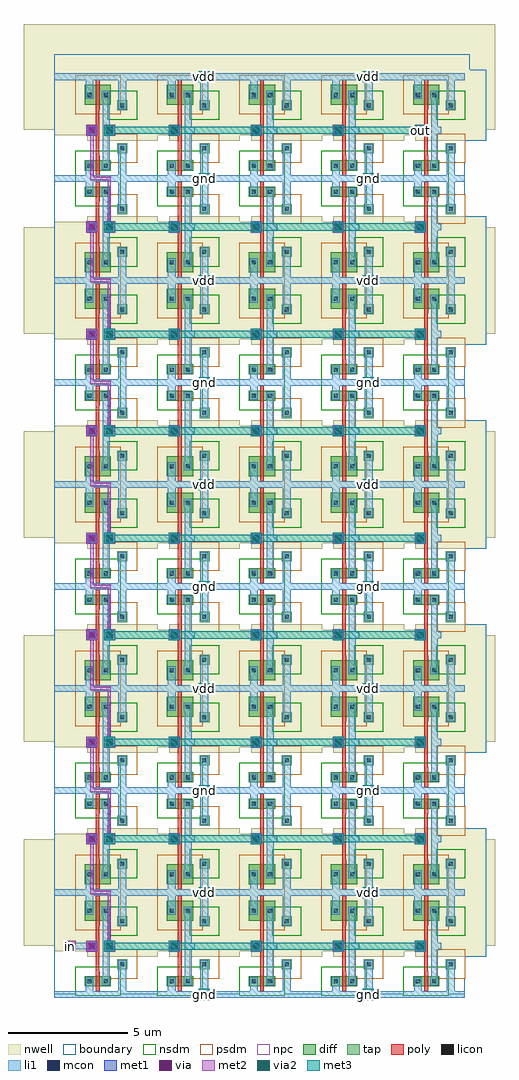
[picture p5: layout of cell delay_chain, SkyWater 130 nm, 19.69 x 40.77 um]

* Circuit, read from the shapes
.subckt delay_chain gnd in out vdd
XM1 pinv_17_1/A in gnd gnd sky130_fd_pr__nfet_01v8 w=0.42 l=0.16
XM2 pinv_17_10/A pinv_17_1/A gnd gnd sky130_fd_pr__nfet_01v8 w=0.42 l=0.16
XM3 pinv_17_11/A pinv_17_10/A gnd gnd sky130_fd_pr__nfet_01v8 w=0.42 l=0.16
XM4 pinv_17_16/A pinv_17_11/A gnd gnd sky130_fd_pr__nfet_01v8 w=0.42 l=0.16
XM5 pinv_17_21/A pinv_17_16/A gnd gnd sky130_fd_pr__nfet_01v8 w=0.42 l=0.16
XM6 pinv_17_26/A pinv_17_21/A gnd gnd sky130_fd_pr__nfet_01v8 w=0.42 l=0.16
XM7 pinv_17_31/A pinv_17_26/A gnd gnd sky130_fd_pr__nfet_01v8 w=0.42 l=0.16
XM8 pinv_17_36/A pinv_17_31/A gnd gnd sky130_fd_pr__nfet_01v8 w=0.42 l=0.16
XM9 out pinv_17_36/A gnd gnd sky130_fd_pr__nfet_01v8 w=0.42 l=0.16
XM10 pinv_17_1/Z pinv_17_1/A gnd gnd sky130_fd_pr__nfet_01v8 w=0.42 l=0.16
XM11 pinv_17_6/Z pinv_17_10/A gnd gnd sky130_fd_pr__nfet_01v8 w=0.42 l=0.16
XM12 pinv_17_11/Z pinv_17_11/A gnd gnd sky130_fd_pr__nfet_01v8 w=0.42 l=0.16
XM13 pinv_17_16/Z pinv_17_16/A gnd gnd sky130_fd_pr__nfet_01v8 w=0.42 l=0.16
XM14 pinv_17_21/Z pinv_17_21/A gnd gnd sky130_fd_pr__nfet_01v8 w=0.42 l=0.16
XM15 pinv_17_26/Z pinv_17_26/A gnd gnd sky130_fd_pr__nfet_01v8 w=0.42 l=0.16
XM16 pinv_17_31/Z pinv_17_31/A gnd gnd sky130_fd_pr__nfet_01v8 w=0.42 l=0.16
XM17 pinv_17_36/Z pinv_17_36/A gnd gnd sky130_fd_pr__nfet_01v8 w=0.42 l=0.16
XM18 pinv_17_41/Z out gnd gnd sky130_fd_pr__nfet_01v8 w=0.42 l=0.16
XM19 pinv_17_2/Z pinv_17_1/A gnd gnd sky130_fd_pr__nfet_01v8 w=0.42 l=0.16
XM20 pinv_17_7/Z pinv_17_10/A gnd gnd sky130_fd_pr__nfet_01v8 w=0.42 l=0.16
XM21 pinv_17_12/Z pinv_17_11/A gnd gnd sky130_fd_pr__nfet_01v8 w=0.42 l=0.16
XM22 pinv_17_17/Z pinv_17_16/A gnd gnd sky130_fd_pr__nfet_01v8 w=0.42 l=0.16
XM23 pinv_17_22/Z pinv_17_21/A gnd gnd sky130_fd_pr__nfet_01v8 w=0.42 l=0.16
XM24 pinv_17_27/Z pinv_17_26/A gnd gnd sky130_fd_pr__nfet_01v8 w=0.42 l=0.16
XM25 pinv_17_32/Z pinv_17_31/A gnd gnd sky130_fd_pr__nfet_01v8 w=0.42 l=0.16
XM26 pinv_17_37/Z pinv_17_36/A gnd gnd sky130_fd_pr__nfet_01v8 w=0.42 l=0.16
XM27 pinv_17_42/Z out gnd gnd sky130_fd_pr__nfet_01v8 w=0.42 l=0.16
XM28 pinv_17_3/Z pinv_17_1/A gnd gnd sky130_fd_pr__nfet_01v8 w=0.42 l=0.16
XM29 pinv_17_8/Z pinv_17_10/A gnd gnd sky130_fd_pr__nfet_01v8 w=0.42 l=0.16
XM30 pinv_17_13/Z pinv_17_11/A gnd gnd sky130_fd_pr__nfet_01v8 w=0.42 l=0.16
XM31 pinv_17_18/Z pinv_17_16/A gnd gnd sky130_fd_pr__nfet_01v8 w=0.42 l=0.16
XM32 pinv_17_23/Z pinv_17_21/A gnd gnd sky130_fd_pr__nfet_01v8 w=0.42 l=0.16
XM33 pinv_17_28/Z pinv_17_26/A gnd gnd sky130_fd_pr__nfet_01v8 w=0.42 l=0.16
XM34 pinv_17_33/Z pinv_17_31/A gnd gnd sky130_fd_pr__nfet_01v8 w=0.42 l=0.16
XM35 pinv_17_38/Z pinv_17_36/A gnd gnd sky130_fd_pr__nfet_01v8 w=0.42 l=0.16
XM36 pinv_17_43/Z out gnd gnd sky130_fd_pr__nfet_01v8 w=0.42 l=0.16
XM37 pinv_17_4/Z pinv_17_1/A gnd gnd sky130_fd_pr__nfet_01v8 w=0.42 l=0.16
XM38 pinv_17_9/Z pinv_17_10/A gnd gnd sky130_fd_pr__nfet_01v8 w=0.42 l=0.16
XM39 pinv_17_14/Z pinv_17_11/A gnd gnd sky130_fd_pr__nfet_01v8 w=0.42 l=0.16
XM40 pinv_17_19/Z pinv_17_16/A gnd gnd sky130_fd_pr__nfet_01v8 w=0.42 l=0.16
XM41 pinv_17_24/Z pinv_17_21/A gnd gnd sky130_fd_pr__nfet_01v8 w=0.42 l=0.16
XM42 pinv_17_29/Z pinv_17_26/A gnd gnd sky130_fd_pr__nfet_01v8 w=0.42 l=0.16
XM43 pinv_17_34/Z pinv_17_31/A gnd gnd sky130_fd_pr__nfet_01v8 w=0.42 l=0.16
XM44 pinv_17_39/Z pinv_17_36/A gnd gnd sky130_fd_pr__nfet_01v8 w=0.42 l=0.16
XM45 pinv_17_44/Z out gnd gnd sky130_fd_pr__nfet_01v8 w=0.42 l=0.16
XM46 pinv_17_1/A in vdd vdd sky130_fd_pr__pfet_01v8 w=0.84 l=0.16
XM47 pinv_17_10/A pinv_17_1/A vdd vdd sky130_fd_pr__pfet_01v8 w=0.84 l=0.16
XM48 pinv_17_11/A pinv_17_10/A vdd vdd sky130_fd_pr__pfet_01v8 w=0.84 l=0.16
XM49 pinv_17_16/A pinv_17_11/A vdd vdd sky130_fd_pr__pfet_01v8 w=0.84 l=0.16
XM50 pinv_17_21/A pinv_17_16/A vdd vdd sky130_fd_pr__pfet_01v8 w=0.84 l=0.16
XM51 pinv_17_26/A pinv_17_21/A vdd vdd sky130_fd_pr__pfet_01v8 w=0.84 l=0.16
XM52 pinv_17_31/A pinv_17_26/A vdd vdd sky130_fd_pr__pfet_01v8 w=0.84 l=0.16
XM53 pinv_17_36/A pinv_17_31/A vdd vdd sky130_fd_pr__pfet_01v8 w=0.84 l=0.16
XM54 out pinv_17_36/A vdd vdd sky130_fd_pr__pfet_01v8 w=0.84 l=0.16
XM55 pinv_17_1/Z pinv_17_1/A vdd vdd sky130_fd_pr__pfet_01v8 w=0.84 l=0.16
XM56 pinv_17_6/Z pinv_17_10/A vdd vdd sky130_fd_pr__pfet_01v8 w=0.84 l=0.16
XM57 pinv_17_11/Z pinv_17_11/A vdd vdd sky130_fd_pr__pfet_01v8 w=0.84 l=0.16
XM58 pinv_17_16/Z pinv_17_16/A vdd vdd sky130_fd_pr__pfet_01v8 w=0.84 l=0.16
XM59 pinv_17_21/Z pinv_17_21/A vdd vdd sky130_fd_pr__pfet_01v8 w=0.84 l=0.16
XM60 pinv_17_26/Z pinv_17_26/A vdd vdd sky130_fd_pr__pfet_01v8 w=0.84 l=0.16
XM61 pinv_17_31/Z pinv_17_31/A vdd vdd sky130_fd_pr__pfet_01v8 w=0.84 l=0.16
XM62 pinv_17_36/Z pinv_17_36/A vdd vdd sky130_fd_pr__pfet_01v8 w=0.84 l=0.16
XM63 pinv_17_41/Z out vdd vdd sky130_fd_pr__pfet_01v8 w=0.84 l=0.16
XM64 pinv_17_2/Z pinv_17_1/A vdd vdd sky130_fd_pr__pfet_01v8 w=0.84 l=0.16
XM65 pinv_17_7/Z pinv_17_10/A vdd vdd sky130_fd_pr__pfet_01v8 w=0.84 l=0.16
XM66 pinv_17_12/Z pinv_17_11/A vdd vdd sky130_fd_pr__pfet_01v8 w=0.84 l=0.16
XM67 pinv_17_17/Z pinv_17_16/A vdd vdd sky130_fd_pr__pfet_01v8 w=0.84 l=0.16
XM68 pinv_17_22/Z pinv_17_21/A vdd vdd sky130_fd_pr__pfet_01v8 w=0.84 l=0.16
XM69 pinv_17_27/Z pinv_17_26/A vdd vdd sky130_fd_pr__pfet_01v8 w=0.84 l=0.16
XM70 pinv_17_32/Z pinv_17_31/A vdd vdd sky130_fd_pr__pfet_01v8 w=0.84 l=0.16
XM71 pinv_17_37/Z pinv_17_36/A vdd vdd sky130_fd_pr__pfet_01v8 w=0.84 l=0.16
XM72 pinv_17_42/Z out vdd vdd sky130_fd_pr__pfet_01v8 w=0.84 l=0.16
XM73 pinv_17_3/Z pinv_17_1/A vdd vdd sky130_fd_pr__pfet_01v8 w=0.84 l=0.16
XM74 pinv_17_8/Z pinv_17_10/A vdd vdd sky130_fd_pr__pfet_01v8 w=0.84 l=0.16
XM75 pinv_17_13/Z pinv_17_11/A vdd vdd sky130_fd_pr__pfet_01v8 w=0.84 l=0.16
XM76 pinv_17_18/Z pinv_17_16/A vdd vdd sky130_fd_pr__pfet_01v8 w=0.84 l=0.16
XM77 pinv_17_23/Z pinv_17_21/A vdd vdd sky130_fd_pr__pfet_01v8 w=0.84 l=0.16
XM78 pinv_17_28/Z pinv_17_26/A vdd vdd sky130_fd_pr__pfet_01v8 w=0.84 l=0.16
XM79 pinv_17_33/Z pinv_17_31/A vdd vdd sky130_fd_pr__pfet_01v8 w=0.84 l=0.16
XM80 pinv_17_38/Z pinv_17_36/A vdd vdd sky130_fd_pr__pfet_01v8 w=0.84 l=0.16
XM81 pinv_17_43/Z out vdd vdd sky130_fd_pr__pfet_01v8 w=0.84 l=0.16
XM82 pinv_17_4/Z pinv_17_1/A vdd vdd sky130_fd_pr__pfet_01v8 w=0.84 l=0.16
XM83 pinv_17_9/Z pinv_17_10/A vdd vdd sky130_fd_pr__pfet_01v8 w=0.84 l=0.16
XM84 pinv_17_14/Z pinv_17_11/A vdd vdd sky130_fd_pr__pfet_01v8 w=0.84 l=0.16
XM85 pinv_17_19/Z pinv_17_16/A vdd vdd sky130_fd_pr__pfet_01v8 w=0.84 l=0.16
XM86 pinv_17_24/Z pinv_17_21/A vdd vdd sky130_fd_pr__pfet_01v8 w=0.84 l=0.16
XM87 pinv_17_29/Z pinv_17_26/A vdd vdd sky130_fd_pr__pfet_01v8 w=0.84 l=0.16
XM88 pinv_17_34/Z pinv_17_31/A vdd vdd sky130_fd_pr__pfet_01v8 w=0.84 l=0.16
XM89 pinv_17_39/Z pinv_17_36/A vdd vdd sky130_fd_pr__pfet_01v8 w=0.84 l=0.16
XM90 pinv_17_44/Z out vdd vdd sky130_fd_pr__pfet_01v8 w=0.84 l=0.16
.ends

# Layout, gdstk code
import gdstk
lib = gdstk.Library(unit=1e-6, precision=1e-09)
def R(c, l, rs):  # rectangles x0, y0, x1, y1
    for r in rs: c.add(gdstk.rectangle(r[:2], r[2:], *l))
def A(c, l, x, y, w, h, nx, ny, dx, dy):  # array of equal rectangles
    R(c, l, [(x+i*dx, y+j*dy, x+i*dx+w, y+j*dy+h) for i in range(nx) for j in range(ny)])
nwell = (64, 20)
diff = (65, 20)
tap = (65, 44)
poly = (66, 20)
licon = (66, 44)
li1 = (67, 20)
mcon = (67, 44)
met1 = (68, 20)
via = (68, 44)
met2 = (69, 20)
via2 = (69, 44)
met3 = (70, 20)
nsdm = (93, 44)
psdm = (94, 20)
npc = (95, 20)
boundary = (235, 4)

contact_12 = lib.new_cell('contact_12')
R(contact_12, nwell, [(-1.27,-1.27,1.69,1.69)])
R(contact_12, diff, [(0,0,0.42,0.42)])
R(contact_12, licon, [(0.12,0.12,0.29,0.29)])
R(contact_12, li1, [(0.04,0.04,0.37,0.37)])
R(contact_12, psdm, [(-0.4,-0.4,0.82,0.82)])
R(contact_12, boundary, [(-1.27,-1.27,1.69,1.69)])

pmos_m1_w0_840_sli_dli_d = lib.new_cell('pmos_m1_w0_840_sli_dli_da_p')
R(pmos_m1_w0_840_sli_dli_d, nwell, [(-1.27,-1.27,2.37,2.11)])
R(pmos_m1_w0_840_sli_dli_d, diff, [(0,0,1.1,0.84)])
R(pmos_m1_w0_840_sli_dli_d, poly, [(0.47,-0.21,0.62,1.05), (0.47,-0.21,0.63,1.05)])
R(pmos_m1_w0_840_sli_dli_d, li1, [(0.05,0.25,0.37,0.59), (0.73,0.25,1.05,0.59)])
R(pmos_m1_w0_840_sli_dli_d, psdm, [(-0.4,-0.4,1.5,1.24)])
R(pmos_m1_w0_840_sli_dli_d, boundary, [(-1.27,-1.27,2.37,2.11)])
pmos_m1_w0_840_sli_dli_d.add(gdstk.Reference(contact_12, (0,0.21)))
pmos_m1_w0_840_sli_dli_d.add(gdstk.Reference(contact_12, (0.68,0.21)))
pmos_m1_w0_840_sli_dli_d.add(gdstk.Label('G', (0.55,0.42), layer=66, texttype=20))
pmos_m1_w0_840_sli_dli_d.add(gdstk.Label('S', (0.21,0.42), layer=67, texttype=20))
pmos_m1_w0_840_sli_dli_d.add(gdstk.Label('D', (0.89,0.42), layer=67, texttype=20))

contact_11 = lib.new_cell('contact_11')
R(contact_11, diff, [(0,0,0.42,0.42)])
R(contact_11, licon, [(0.12,0.12,0.29,0.29)])
R(contact_11, li1, [(0.04,0.04,0.37,0.37)])
R(contact_11, nsdm, [(-0.4,-0.4,0.82,0.82)])
R(contact_11, boundary, [(-0.4,-0.4,0.82,0.82)])

nmos_m1_w0_420_sli_dli_d = lib.new_cell('nmos_m1_w0_420_sli_dli_da_p')
R(nmos_m1_w0_420_sli_dli_d, diff, [(0,0,1.1,0.42)])
R(nmos_m1_w0_420_sli_dli_d, poly, [(0.47,-0.21,0.62,0.63), (0.47,-0.21,0.63,0.63)])
R(nmos_m1_w0_420_sli_dli_d, li1, [(0.05,0.05,0.37,0.37), (0.73,0.05,1.05,0.37)])
R(nmos_m1_w0_420_sli_dli_d, nsdm, [(-0.4,-0.4,1.5,0.82)])
R(nmos_m1_w0_420_sli_dli_d, boundary, [(-0.4,-0.4,1.5,0.82)])
nmos_m1_w0_420_sli_dli_d.add(gdstk.Reference(contact_11, (0,0)))
nmos_m1_w0_420_sli_dli_d.add(gdstk.Reference(contact_11, (0.68,0)))
nmos_m1_w0_420_sli_dli_d.add(gdstk.Label('G', (0.55,0.21), layer=66, texttype=20))
nmos_m1_w0_420_sli_dli_d.add(gdstk.Label('S', (0.21,0.21), layer=67, texttype=20))
nmos_m1_w0_420_sli_dli_d.add(gdstk.Label('D', (0.89,0.21), layer=67, texttype=20))

contact_13 = lib.new_cell('contact_13')
R(contact_13, nwell, [(-1.27,-1.27,1.69,1.69)])
R(contact_13, tap, [(0,0,0.42,0.42)])
R(contact_13, licon, [(0.12,0.12,0.29,0.29)])
R(contact_13, li1, [(0.04,0.04,0.37,0.37)])
R(contact_13, nsdm, [(-0.4,-0.4,0.82,0.82)])
R(contact_13, boundary, [(-1.27,-1.27,1.69,1.69)])

contact_14 = lib.new_cell('contact_14')
R(contact_14, tap, [(0,0,0.42,0.42)])
R(contact_14, licon, [(0.12,0.12,0.29,0.29)])
R(contact_14, li1, [(0.04,0.04,0.37,0.37)])
R(contact_14, psdm, [(-0.4,-0.4,0.82,0.82)])
R(contact_14, boundary, [(-0.4,-0.4,0.82,0.82)])

contact_15 = lib.new_cell('contact_15')
R(contact_15, poly, [(0,0,0.33,0.33)])
R(contact_15, licon, [(0.08,0.08,0.25,0.25)])
R(contact_15, li1, [(0,0,0.33,0.33)])
R(contact_15, npc, [(-0.05,-0.05,0.38,0.38)])
R(contact_15, boundary, [(-0.05,-0.05,0.38,0.38)])

pinv_17 = lib.new_cell('pinv_17')
R(pinv_17, nwell, [(-1.27,2.04,4.7,6.46)])
R(pinv_17, poly, [(1.74,0.97,1.89,2.87), (1.58,1.86,1.74,2.19)])
R(pinv_17, li1, [(0,-0.14,3.43,0.14), (1.32,-0.14,1.64,0.39), (2.68,0,3.01,1.27), (2.02,0.39,2.31,3.67), (1.41,1.86,1.74,2.18), (2.16,1.88,2.45,2.16), (2.68,3.06,3.01,4.26), (1.32,3.33,1.64,4.4), (0,4.12,3.43,4.4)])
R(pinv_17, boundary, [(0,0,3.43,4.26), (0,0,3.43,4.26)])
pinv_17.add(gdstk.Reference(pmos_m1_w0_840_sli_dli_d, (1.27,3.08)))
pinv_17.add(gdstk.Reference(nmos_m1_w0_420_sli_dli_d, (1.27,0.34)))
pinv_17.add(gdstk.Reference(contact_13, (2.64,2.85)))
pinv_17.add(gdstk.Reference(contact_14, (2.64,1.06)))
pinv_17.add(gdstk.Reference(contact_15, (1.41,1.86)))
pinv_17.add(gdstk.Label('A', (1.575,2.02), layer=67, texttype=20))
pinv_17.add(gdstk.Label('Z', (2.305,2.02), layer=67, texttype=20))
pinv_17.add(gdstk.Label('gnd', (1.715,0), layer=67, texttype=20))
pinv_17.add(gdstk.Label('vdd', (1.715,4.26), layer=67, texttype=20))

contact_16 = lib.new_cell('contact_16')
R(contact_16, li1, [(0,0,0.33,0.33)])
R(contact_16, mcon, [(0.08,0.08,0.25,0.25)])
R(contact_16, met1, [(0.02,0.02,0.31,0.31)])
R(contact_16, boundary, [(0,0,0.33,0.33)])

contact_6 = lib.new_cell('contact_6')
R(contact_6, met1, [(0,0,0.46,0.46)])
R(contact_6, via, [(0.1,0.1,0.36,0.36)])
R(contact_6, met2, [(0,0,0.46,0.46)])
R(contact_6, boundary, [(0,0,0.46,0.46)])

contact_7 = lib.new_cell('contact_7')
R(contact_7, met2, [(0,0,0.46,0.46)])
R(contact_7, via2, [(0.09,0.09,0.37,0.37)])
R(contact_7, met3, [(0.01,0.01,0.45,0.45)])
R(contact_7, boundary, [(0,0,0.46,0.46)])

delay_chain = lib.new_cell('delay_chain')
R(delay_chain, li1, [(0.66,1.88,1.58,2.17)])
R(delay_chain, met1, [(15.22,36.03,15.36,36.17)])
A(delay_chain, met2, 2.23, 2.02, 0.14, 2.24, 1, 4, 0, 8.52)
A(delay_chain, met2, 1.51, 4.19, 0.14, 0.14, 1, 8, 0, 4.26)
A(delay_chain, met2, 1.58, 4.19, 0.72, 0.14, 1, 8, 0, 4.26)
A(delay_chain, met2, 2.23, 4.19, 0.14, 0.14, 1, 8, 0, 4.26)
A(delay_chain, met2, 1.51, 4.26, 0.14, 2.24, 1, 4, 0, 8.52)
A(delay_chain, met2, 2.23, 6.5, 0.14, 2.02, 1, 4, 0, 8.52)
A(delay_chain, met2, 1.51, 8.52, 0.14, 2.02, 1, 4, 0, 8.52)
R(delay_chain, met2, [(0.6,1.95,0.74,2.09)])
A(delay_chain, met3, 6.03, -0.23, 0.46, 0.46, 1, 4, 0, 4.26)
A(delay_chain, met3, 12.89, -0.23, 0.46, 0.46, 1, 4, 0, 4.26)
A(delay_chain, met3, 6.03, 12.55, 0.46, 0.46, 1, 3, 0, 4.26)
A(delay_chain, met3, 12.89, 12.55, 0.46, 0.46, 1, 3, 0, 4.26)
A(delay_chain, met3, 6.03, 21.07, 0.46, 0.46, 1, 5, 0, 4.26)
A(delay_chain, met3, 12.89, 21.07, 0.46, 0.46, 1, 5, 0, 4.26)
R(delay_chain, met3, [(2.3,1.87,15.3,2.17), (2.3,6.35,15.3,6.65), (2.3,10.39,15.3,10.69), (2.3,14.87,15.3,15.17), (2.3,18.91,15.3,19.21), (2.3,23.39,15.3,23.69), (2.3,27.43,15.3,27.73), (2.3,31.91,15.3,32.21), (2.3,35.95,15.3,36.25)])
R(delay_chain, boundary, [(0,0,17.15,38.34)])
delay_chain.add(gdstk.Reference(pinv_17, (0,0)))
delay_chain.add(gdstk.Reference(pinv_17, (3.43,0)))
delay_chain.add(gdstk.Reference(pinv_17, (6.86,0)))
delay_chain.add(gdstk.Reference(pinv_17, (10.29,0)))
delay_chain.add(gdstk.Reference(pinv_17, (13.72,0)))
delay_chain.add(gdstk.Reference(pinv_17, (0,8.52), x_reflection=True))
delay_chain.add(gdstk.Reference(pinv_17, (3.43,8.52), x_reflection=True))
delay_chain.add(gdstk.Reference(pinv_17, (6.86,8.52), x_reflection=True))
delay_chain.add(gdstk.Reference(pinv_17, (10.29,8.52), x_reflection=True))
delay_chain.add(gdstk.Reference(pinv_17, (13.72,8.52), x_reflection=True))
delay_chain.add(gdstk.Reference(pinv_17, (0,8.52)))
delay_chain.add(gdstk.Reference(pinv_17, (3.43,8.52)))
delay_chain.add(gdstk.Reference(pinv_17, (6.86,8.52)))
delay_chain.add(gdstk.Reference(pinv_17, (10.29,8.52)))
delay_chain.add(gdstk.Reference(pinv_17, (13.72,8.52)))
delay_chain.add(gdstk.Reference(pinv_17, (0,17.04), x_reflection=True))
delay_chain.add(gdstk.Reference(pinv_17, (3.43,17.04), x_reflection=True))
delay_chain.add(gdstk.Reference(pinv_17, (6.86,17.04), x_reflection=True))
delay_chain.add(gdstk.Reference(pinv_17, (10.29,17.04), x_reflection=True))
delay_chain.add(gdstk.Reference(pinv_17, (13.72,17.04), x_reflection=True))
delay_chain.add(gdstk.Reference(pinv_17, (0,17.04)))
delay_chain.add(gdstk.Reference(pinv_17, (3.43,17.04)))
delay_chain.add(gdstk.Reference(pinv_17, (6.86,17.04)))
delay_chain.add(gdstk.Reference(pinv_17, (10.29,17.04)))
delay_chain.add(gdstk.Reference(pinv_17, (13.72,17.04)))
delay_chain.add(gdstk.Reference(pinv_17, (0,25.56), x_reflection=True))
delay_chain.add(gdstk.Reference(pinv_17, (3.43,25.56), x_reflection=True))
delay_chain.add(gdstk.Reference(pinv_17, (6.86,25.56), x_reflection=True))
delay_chain.add(gdstk.Reference(pinv_17, (10.29,25.56), x_reflection=True))
delay_chain.add(gdstk.Reference(pinv_17, (13.72,25.56), x_reflection=True))
delay_chain.add(gdstk.Reference(pinv_17, (0,25.56)))
delay_chain.add(gdstk.Reference(pinv_17, (3.43,25.56)))
delay_chain.add(gdstk.Reference(pinv_17, (6.86,25.56)))
delay_chain.add(gdstk.Reference(pinv_17, (10.29,25.56)))
delay_chain.add(gdstk.Reference(pinv_17, (13.72,25.56)))
delay_chain.add(gdstk.Reference(pinv_17, (0,34.08), x_reflection=True))
delay_chain.add(gdstk.Reference(pinv_17, (3.43,34.08), x_reflection=True))
delay_chain.add(gdstk.Reference(pinv_17, (6.86,34.08), x_reflection=True))
delay_chain.add(gdstk.Reference(pinv_17, (10.29,34.08), x_reflection=True))
delay_chain.add(gdstk.Reference(pinv_17, (13.72,34.08), x_reflection=True))
delay_chain.add(gdstk.Reference(pinv_17, (0,34.08)))
delay_chain.add(gdstk.Reference(pinv_17, (3.43,34.08)))
delay_chain.add(gdstk.Reference(pinv_17, (6.86,34.08)))
delay_chain.add(gdstk.Reference(pinv_17, (10.29,34.08)))
delay_chain.add(gdstk.Reference(pinv_17, (13.72,34.08)))
delay_chain.add(gdstk.Reference(contact_16, (4.84,1.86)))
delay_chain.add(gdstk.Reference(contact_6, (4.78,1.79)))
delay_chain.add(gdstk.Reference(contact_7, (4.78,1.79)))
delay_chain.add(gdstk.Reference(contact_16, (8.27,1.86)))
delay_chain.add(gdstk.Reference(contact_6, (8.2,1.79)))
delay_chain.add(gdstk.Reference(contact_7, (8.2,1.79)))
delay_chain.add(gdstk.Reference(contact_16, (11.7,1.86)))
delay_chain.add(gdstk.Reference(contact_6, (11.64,1.79)))
delay_chain.add(gdstk.Reference(contact_7, (11.64,1.79)))
delay_chain.add(gdstk.Reference(contact_16, (15.13,1.86)))
delay_chain.add(gdstk.Reference(contact_6, (15.06,1.79)))
delay_chain.add(gdstk.Reference(contact_7, (15.06,1.79)))
delay_chain.add(gdstk.Reference(contact_16, (1.41,1.86)))
delay_chain.add(gdstk.Reference(contact_6, (1.34,1.79)))
delay_chain.add(gdstk.Reference(contact_16, (2.14,1.86)))
delay_chain.add(gdstk.Reference(contact_6, (2.08,1.79)))
delay_chain.add(gdstk.Reference(contact_7, (2.08,1.79)))
delay_chain.add(gdstk.Reference(contact_16, (4.84,6.34)))
delay_chain.add(gdstk.Reference(contact_6, (4.78,6.27)))
delay_chain.add(gdstk.Reference(contact_7, (4.78,6.27)))
delay_chain.add(gdstk.Reference(contact_16, (8.27,6.34)))
delay_chain.add(gdstk.Reference(contact_6, (8.2,6.27)))
delay_chain.add(gdstk.Reference(contact_7, (8.2,6.27)))
delay_chain.add(gdstk.Reference(contact_16, (11.7,6.34)))
delay_chain.add(gdstk.Reference(contact_6, (11.64,6.27)))
delay_chain.add(gdstk.Reference(contact_7, (11.64,6.27)))
delay_chain.add(gdstk.Reference(contact_16, (15.13,6.34)))
delay_chain.add(gdstk.Reference(contact_6, (15.06,6.27)))
delay_chain.add(gdstk.Reference(contact_7, (15.06,6.27)))
delay_chain.add(gdstk.Reference(contact_16, (1.41,6.34)))
delay_chain.add(gdstk.Reference(contact_6, (1.34,6.27)))
delay_chain.add(gdstk.Reference(contact_16, (2.14,6.34)))
delay_chain.add(gdstk.Reference(contact_6, (2.08,6.27)))
delay_chain.add(gdstk.Reference(contact_7, (2.08,6.27)))
delay_chain.add(gdstk.Reference(contact_16, (4.84,10.38)))
delay_chain.add(gdstk.Reference(contact_6, (4.78,10.31)))
delay_chain.add(gdstk.Reference(contact_7, (4.78,10.31)))
delay_chain.add(gdstk.Reference(contact_16, (8.27,10.38)))
delay_chain.add(gdstk.Reference(contact_6, (8.2,10.31)))
delay_chain.add(gdstk.Reference(contact_7, (8.2,10.31)))
delay_chain.add(gdstk.Reference(contact_16, (11.7,10.38)))
delay_chain.add(gdstk.Reference(contact_6, (11.64,10.31)))
delay_chain.add(gdstk.Reference(contact_7, (11.64,10.31)))
delay_chain.add(gdstk.Reference(contact_16, (15.13,10.38)))
delay_chain.add(gdstk.Reference(contact_6, (15.06,10.31)))
delay_chain.add(gdstk.Reference(contact_7, (15.06,10.31)))
delay_chain.add(gdstk.Reference(contact_16, (1.41,10.38)))
delay_chain.add(gdstk.Reference(contact_6, (1.34,10.31)))
delay_chain.add(gdstk.Reference(contact_16, (2.14,10.38)))
delay_chain.add(gdstk.Reference(contact_6, (2.08,10.31)))
delay_chain.add(gdstk.Reference(contact_7, (2.08,10.31)))
delay_chain.add(gdstk.Reference(contact_16, (4.84,14.86)))
delay_chain.add(gdstk.Reference(contact_6, (4.78,14.79)))
delay_chain.add(gdstk.Reference(contact_7, (4.78,14.79)))
delay_chain.add(gdstk.Reference(contact_16, (8.27,14.86)))
delay_chain.add(gdstk.Reference(contact_6, (8.2,14.79)))
delay_chain.add(gdstk.Reference(contact_7, (8.2,14.79)))
delay_chain.add(gdstk.Reference(contact_16, (11.7,14.86)))
delay_chain.add(gdstk.Reference(contact_6, (11.64,14.79)))
delay_chain.add(gdstk.Reference(contact_7, (11.64,14.79)))
delay_chain.add(gdstk.Reference(contact_16, (15.13,14.86)))
delay_chain.add(gdstk.Reference(contact_6, (15.06,14.79)))
delay_chain.add(gdstk.Reference(contact_7, (15.06,14.79)))
delay_chain.add(gdstk.Reference(contact_16, (1.41,14.86)))
delay_chain.add(gdstk.Reference(contact_6, (1.34,14.79)))
delay_chain.add(gdstk.Reference(contact_16, (2.14,14.86)))
delay_chain.add(gdstk.Reference(contact_6, (2.08,14.79)))
delay_chain.add(gdstk.Reference(contact_7, (2.08,14.79)))
delay_chain.add(gdstk.Reference(contact_16, (4.84,18.9)))
delay_chain.add(gdstk.Reference(contact_6, (4.78,18.83)))
delay_chain.add(gdstk.Reference(contact_7, (4.78,18.83)))
delay_chain.add(gdstk.Reference(contact_16, (8.27,18.9)))
delay_chain.add(gdstk.Reference(contact_6, (8.2,18.83)))
delay_chain.add(gdstk.Reference(contact_7, (8.2,18.83)))
delay_chain.add(gdstk.Reference(contact_16, (11.7,18.9)))
delay_chain.add(gdstk.Reference(contact_6, (11.64,18.83)))
delay_chain.add(gdstk.Reference(contact_7, (11.64,18.83)))
delay_chain.add(gdstk.Reference(contact_16, (15.13,18.9)))
delay_chain.add(gdstk.Reference(contact_6, (15.06,18.83)))
delay_chain.add(gdstk.Reference(contact_7, (15.06,18.83)))
delay_chain.add(gdstk.Reference(contact_16, (1.41,18.9)))
delay_chain.add(gdstk.Reference(contact_6, (1.34,18.83)))
delay_chain.add(gdstk.Reference(contact_16, (2.14,18.9)))
delay_chain.add(gdstk.Reference(contact_6, (2.08,18.83)))
delay_chain.add(gdstk.Reference(contact_7, (2.08,18.83)))
delay_chain.add(gdstk.Reference(contact_16, (4.84,23.38)))
delay_chain.add(gdstk.Reference(contact_6, (4.78,23.31)))
delay_chain.add(gdstk.Reference(contact_7, (4.78,23.31)))
delay_chain.add(gdstk.Reference(contact_16, (8.27,23.38)))
delay_chain.add(gdstk.Reference(contact_6, (8.2,23.31)))
delay_chain.add(gdstk.Reference(contact_7, (8.2,23.31)))
delay_chain.add(gdstk.Reference(contact_16, (11.7,23.38)))
delay_chain.add(gdstk.Reference(contact_6, (11.64,23.31)))
delay_chain.add(gdstk.Reference(contact_7, (11.64,23.31)))
delay_chain.add(gdstk.Reference(contact_16, (15.13,23.38)))
delay_chain.add(gdstk.Reference(contact_6, (15.06,23.31)))
delay_chain.add(gdstk.Reference(contact_7, (15.06,23.31)))
delay_chain.add(gdstk.Reference(contact_16, (1.41,23.38)))
delay_chain.add(gdstk.Reference(contact_6, (1.34,23.31)))
delay_chain.add(gdstk.Reference(contact_16, (2.14,23.38)))
delay_chain.add(gdstk.Reference(contact_6, (2.08,23.31)))
delay_chain.add(gdstk.Reference(contact_7, (2.08,23.31)))
delay_chain.add(gdstk.Reference(contact_16, (4.84,27.42)))
delay_chain.add(gdstk.Reference(contact_6, (4.78,27.35)))
delay_chain.add(gdstk.Reference(contact_7, (4.78,27.35)))
delay_chain.add(gdstk.Reference(contact_16, (8.27,27.42)))
delay_chain.add(gdstk.Reference(contact_6, (8.2,27.35)))
delay_chain.add(gdstk.Reference(contact_7, (8.2,27.35)))
delay_chain.add(gdstk.Reference(contact_16, (11.7,27.42)))
delay_chain.add(gdstk.Reference(contact_6, (11.64,27.35)))
delay_chain.add(gdstk.Reference(contact_7, (11.64,27.35)))
delay_chain.add(gdstk.Reference(contact_16, (15.13,27.42)))
delay_chain.add(gdstk.Reference(contact_6, (15.06,27.35)))
delay_chain.add(gdstk.Reference(contact_7, (15.06,27.35)))
delay_chain.add(gdstk.Reference(contact_16, (1.41,27.42)))
delay_chain.add(gdstk.Reference(contact_6, (1.34,27.35)))
delay_chain.add(gdstk.Reference(contact_16, (2.14,27.42)))
delay_chain.add(gdstk.Reference(contact_6, (2.08,27.35)))
delay_chain.add(gdstk.Reference(contact_7, (2.08,27.35)))
delay_chain.add(gdstk.Reference(contact_16, (4.84,31.9)))
delay_chain.add(gdstk.Reference(contact_6, (4.78,31.83)))
delay_chain.add(gdstk.Reference(contact_7, (4.78,31.83)))
delay_chain.add(gdstk.Reference(contact_16, (8.27,31.9)))
delay_chain.add(gdstk.Reference(contact_6, (8.2,31.83)))
delay_chain.add(gdstk.Reference(contact_7, (8.2,31.83)))
delay_chain.add(gdstk.Reference(contact_16, (11.7,31.9)))
delay_chain.add(gdstk.Reference(contact_6, (11.64,31.83)))
delay_chain.add(gdstk.Reference(contact_7, (11.64,31.83)))
delay_chain.add(gdstk.Reference(contact_16, (15.13,31.9)))
delay_chain.add(gdstk.Reference(contact_6, (15.06,31.83)))
delay_chain.add(gdstk.Reference(contact_7, (15.06,31.83)))
delay_chain.add(gdstk.Reference(contact_16, (1.41,31.9)))
delay_chain.add(gdstk.Reference(contact_6, (1.34,31.83)))
delay_chain.add(gdstk.Reference(contact_16, (2.14,31.9)))
delay_chain.add(gdstk.Reference(contact_6, (2.08,31.83)))
delay_chain.add(gdstk.Reference(contact_7, (2.08,31.83)))
delay_chain.add(gdstk.Reference(contact_16, (4.84,35.94)))
delay_chain.add(gdstk.Reference(contact_6, (4.78,35.87)))
delay_chain.add(gdstk.Reference(contact_7, (4.78,35.87)))
delay_chain.add(gdstk.Reference(contact_16, (8.27,35.94)))
delay_chain.add(gdstk.Reference(contact_6, (8.2,35.87)))
delay_chain.add(gdstk.Reference(contact_7, (8.2,35.87)))
delay_chain.add(gdstk.Reference(contact_16, (11.7,35.94)))
delay_chain.add(gdstk.Reference(contact_6, (11.64,35.87)))
delay_chain.add(gdstk.Reference(contact_7, (11.64,35.87)))
delay_chain.add(gdstk.Reference(contact_16, (15.13,35.94)))
delay_chain.add(gdstk.Reference(contact_6, (15.06,35.87)))
delay_chain.add(gdstk.Reference(contact_7, (15.06,35.87)))
delay_chain.add(gdstk.Reference(contact_16, (1.41,35.94)))
delay_chain.add(gdstk.Reference(contact_6, (1.34,35.87)))
delay_chain.add(gdstk.Reference(contact_16, (2.14,35.94)))
delay_chain.add(gdstk.Reference(contact_6, (2.08,35.87)))
delay_chain.add(gdstk.Reference(contact_7, (2.08,35.87)))
delay_chain.add(gdstk.Reference(contact_16, (6.1,4.1)))
delay_chain.add(gdstk.Reference(contact_6, (6.03,4.03)))
delay_chain.add(gdstk.Reference(contact_7, (6.03,4.03)))
delay_chain.add(gdstk.Reference(contact_16, (12.96,4.1)))
delay_chain.add(gdstk.Reference(contact_6, (12.89,4.03)))
delay_chain.add(gdstk.Reference(contact_7, (12.89,4.03)))
delay_chain.add(gdstk.Reference(contact_16, (6.1,-0.16)))
delay_chain.add(gdstk.Reference(contact_6, (6.03,-0.23)))
delay_chain.add(gdstk.Reference(contact_7, (6.03,-0.23)))
delay_chain.add(gdstk.Reference(contact_16, (12.96,-0.16)))
delay_chain.add(gdstk.Reference(contact_6, (12.89,-0.23)))
delay_chain.add(gdstk.Reference(contact_7, (12.89,-0.23)))
delay_chain.add(gdstk.Reference(contact_16, (6.1,4.1)))
delay_chain.add(gdstk.Reference(contact_6, (6.03,4.03)))
delay_chain.add(gdstk.Reference(contact_7, (6.03,4.03)))
delay_chain.add(gdstk.Reference(contact_16, (12.96,4.1)))
delay_chain.add(gdstk.Reference(contact_6, (12.89,4.03)))
delay_chain.add(gdstk.Reference(contact_7, (12.89,4.03)))
delay_chain.add(gdstk.Reference(contact_16, (6.1,8.36)))
delay_chain.add(gdstk.Reference(contact_6, (6.03,8.29)))
delay_chain.add(gdstk.Reference(contact_7, (6.03,8.29)))
delay_chain.add(gdstk.Reference(contact_16, (12.96,8.36)))
delay_chain.add(gdstk.Reference(contact_6, (12.89,8.29)))
delay_chain.add(gdstk.Reference(contact_7, (12.89,8.29)))
delay_chain.add(gdstk.Reference(contact_16, (6.1,12.62)))
delay_chain.add(gdstk.Reference(contact_6, (6.03,12.55)))
delay_chain.add(gdstk.Reference(contact_7, (6.03,12.55)))
delay_chain.add(gdstk.Reference(contact_16, (12.96,12.62)))
delay_chain.add(gdstk.Reference(contact_6, (12.89,12.55)))
delay_chain.add(gdstk.Reference(contact_7, (12.89,12.55)))
delay_chain.add(gdstk.Reference(contact_16, (6.1,8.36)))
delay_chain.add(gdstk.Reference(contact_6, (6.03,8.29)))
delay_chain.add(gdstk.Reference(contact_7, (6.03,8.29)))
delay_chain.add(gdstk.Reference(contact_16, (12.96,8.36)))
delay_chain.add(gdstk.Reference(contact_6, (12.89,8.29)))
delay_chain.add(gdstk.Reference(contact_7, (12.89,8.29)))
delay_chain.add(gdstk.Reference(contact_16, (6.1,12.62)))
delay_chain.add(gdstk.Reference(contact_6, (6.03,12.55)))
delay_chain.add(gdstk.Reference(contact_7, (6.03,12.55)))
delay_chain.add(gdstk.Reference(contact_16, (12.96,12.62)))
delay_chain.add(gdstk.Reference(contact_6, (12.89,12.55)))
delay_chain.add(gdstk.Reference(contact_7, (12.89,12.55)))
delay_chain.add(gdstk.Reference(contact_16, (6.1,16.88)))
delay_chain.add(gdstk.Reference(contact_6, (6.03,16.81)))
delay_chain.add(gdstk.Reference(contact_7, (6.03,16.81)))
delay_chain.add(gdstk.Reference(contact_16, (12.96,16.88)))
delay_chain.add(gdstk.Reference(contact_6, (12.89,16.81)))
delay_chain.add(gdstk.Reference(contact_7, (12.89,16.81)))
delay_chain.add(gdstk.Reference(contact_16, (6.1,21.14)))
delay_chain.add(gdstk.Reference(contact_6, (6.03,21.07)))
delay_chain.add(gdstk.Reference(contact_7, (6.03,21.07)))
delay_chain.add(gdstk.Reference(contact_16, (12.96,21.14)))
delay_chain.add(gdstk.Reference(contact_6, (12.89,21.07)))
delay_chain.add(gdstk.Reference(contact_7, (12.89,21.07)))
delay_chain.add(gdstk.Reference(contact_16, (6.1,16.88)))
delay_chain.add(gdstk.Reference(contact_6, (6.03,16.81)))
delay_chain.add(gdstk.Reference(contact_7, (6.03,16.81)))
delay_chain.add(gdstk.Reference(contact_16, (12.96,16.88)))
delay_chain.add(gdstk.Reference(contact_6, (12.89,16.81)))
delay_chain.add(gdstk.Reference(contact_7, (12.89,16.81)))
delay_chain.add(gdstk.Reference(contact_16, (6.1,21.14)))
delay_chain.add(gdstk.Reference(contact_6, (6.03,21.07)))
delay_chain.add(gdstk.Reference(contact_7, (6.03,21.07)))
delay_chain.add(gdstk.Reference(contact_16, (12.96,21.14)))
delay_chain.add(gdstk.Reference(contact_6, (12.89,21.07)))
delay_chain.add(gdstk.Reference(contact_7, (12.89,21.07)))
delay_chain.add(gdstk.Reference(contact_16, (6.1,25.4)))
delay_chain.add(gdstk.Reference(contact_6, (6.03,25.33)))
delay_chain.add(gdstk.Reference(contact_7, (6.03,25.33)))
delay_chain.add(gdstk.Reference(contact_16, (12.96,25.4)))
delay_chain.add(gdstk.Reference(contact_6, (12.89,25.33)))
delay_chain.add(gdstk.Reference(contact_7, (12.89,25.33)))
delay_chain.add(gdstk.Reference(contact_16, (6.1,29.66)))
delay_chain.add(gdstk.Reference(contact_6, (6.03,29.59)))
delay_chain.add(gdstk.Reference(contact_7, (6.03,29.59)))
delay_chain.add(gdstk.Reference(contact_16, (12.96,29.66)))
delay_chain.add(gdstk.Reference(contact_6, (12.89,29.59)))
delay_chain.add(gdstk.Reference(contact_7, (12.89,29.59)))
delay_chain.add(gdstk.Reference(contact_16, (6.1,25.4)))
delay_chain.add(gdstk.Reference(contact_6, (6.03,25.33)))
delay_chain.add(gdstk.Reference(contact_7, (6.03,25.33)))
delay_chain.add(gdstk.Reference(contact_16, (12.96,25.4)))
delay_chain.add(gdstk.Reference(contact_6, (12.89,25.33)))
delay_chain.add(gdstk.Reference(contact_7, (12.89,25.33)))
delay_chain.add(gdstk.Reference(contact_16, (6.1,29.66)))
delay_chain.add(gdstk.Reference(contact_6, (6.03,29.59)))
delay_chain.add(gdstk.Reference(contact_7, (6.03,29.59)))
delay_chain.add(gdstk.Reference(contact_16, (12.96,29.66)))
delay_chain.add(gdstk.Reference(contact_6, (12.89,29.59)))
delay_chain.add(gdstk.Reference(contact_7, (12.89,29.59)))
delay_chain.add(gdstk.Reference(contact_16, (6.1,33.92)))
delay_chain.add(gdstk.Reference(contact_6, (6.03,33.85)))
delay_chain.add(gdstk.Reference(contact_7, (6.03,33.85)))
delay_chain.add(gdstk.Reference(contact_16, (12.96,33.92)))
delay_chain.add(gdstk.Reference(contact_6, (12.89,33.85)))
delay_chain.add(gdstk.Reference(contact_7, (12.89,33.85)))
delay_chain.add(gdstk.Reference(contact_16, (6.1,38.18)))
delay_chain.add(gdstk.Reference(contact_6, (6.03,38.11)))
delay_chain.add(gdstk.Reference(contact_7, (6.03,38.11)))
delay_chain.add(gdstk.Reference(contact_16, (12.96,38.18)))
delay_chain.add(gdstk.Reference(contact_6, (12.89,38.11)))
delay_chain.add(gdstk.Reference(contact_7, (12.89,38.11)))
delay_chain.add(gdstk.Reference(contact_16, (6.1,33.92)))
delay_chain.add(gdstk.Reference(contact_6, (6.03,33.85)))
delay_chain.add(gdstk.Reference(contact_7, (6.03,33.85)))
delay_chain.add(gdstk.Reference(contact_16, (12.96,33.92)))
delay_chain.add(gdstk.Reference(contact_6, (12.89,33.85)))
delay_chain.add(gdstk.Reference(contact_7, (12.89,33.85)))
delay_chain.add(gdstk.Reference(contact_16, (0.5,1.86)))
delay_chain.add(gdstk.Reference(contact_6, (0.44,1.79)))
delay_chain.add(gdstk.Reference(contact_16, (15.13,35.94)))
delay_chain.add(gdstk.Label('vdd', (6.26,38.34), layer=70, texttype=20))
delay_chain.add(gdstk.Label('vdd', (6.26,21.3), layer=70, texttype=20))
delay_chain.add(gdstk.Label('vdd', (6.26,29.82), layer=70, texttype=20))
delay_chain.add(gdstk.Label('vdd', (13.12,29.82), layer=70, texttype=20))
delay_chain.add(gdstk.Label('vdd', (13.12,21.3), layer=70, texttype=20))
delay_chain.add(gdstk.Label('vdd', (13.12,4.26), layer=70, texttype=20))
delay_chain.add(gdstk.Label('vdd', (13.12,12.78), layer=70, texttype=20))
delay_chain.add(gdstk.Label('vdd', (6.26,12.78), layer=70, texttype=20))
delay_chain.add(gdstk.Label('vdd', (6.26,12.78), layer=70, texttype=20))
delay_chain.add(gdstk.Label('vdd', (13.12,21.3), layer=70, texttype=20))
delay_chain.add(gdstk.Label('vdd', (13.12,38.34), layer=70, texttype=20))
delay_chain.add(gdstk.Label('vdd', (6.26,21.3), layer=70, texttype=20))
delay_chain.add(gdstk.Label('vdd', (6.26,4.26), layer=70, texttype=20))
delay_chain.add(gdstk.Label('vdd', (13.12,12.78), layer=70, texttype=20))
delay_chain.add(gdstk.Label('gnd', (13.12,0), layer=70, texttype=20))
delay_chain.add(gdstk.Label('gnd', (6.26,25.56), layer=70, texttype=20))
delay_chain.add(gdstk.Label('gnd', (13.12,17.04), layer=70, texttype=20))
delay_chain.add(gdstk.Label('gnd', (6.26,8.52), layer=70, texttype=20))
delay_chain.add(gdstk.Label('gnd', (13.12,25.56), layer=70, texttype=20))
delay_chain.add(gdstk.Label('gnd', (13.12,34.08), layer=70, texttype=20))
delay_chain.add(gdstk.Label('gnd', (6.26,34.08), layer=70, texttype=20))
delay_chain.add(gdstk.Label('gnd', (6.26,0), layer=70, texttype=20))
delay_chain.add(gdstk.Label('gnd', (13.12,8.52), layer=70, texttype=20))
delay_chain.add(gdstk.Label('gnd', (6.26,17.04), layer=70, texttype=20))
delay_chain.add(gdstk.Label('in', (0.67,2.02), layer=69, texttype=20))
delay_chain.add(gdstk.Label('out', (15.29,36.1), layer=68, texttype=20))

lib.write_gds('delay_chain.gds')
